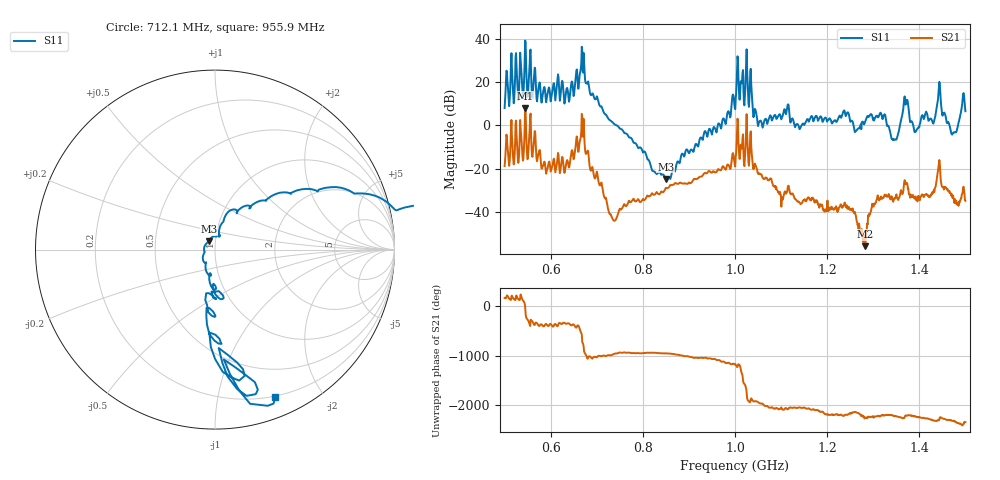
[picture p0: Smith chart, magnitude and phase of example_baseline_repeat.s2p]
# HZ S RI R 50
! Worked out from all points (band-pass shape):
!   1010 points, 500 MHz to 1.5 GHz, reference 50 ohm
!   highest |S21| = 8.05 dB at 544.6 MHz (marker M1); lowest = -55.8 dB at 1.283 GHz (marker M2)
!   |S21| within 3 dB of the highest: 544.2643 MHz to 545.8155 MHz (1.551 MHz wide, 0.285 % of centre); 556.056 MHz to 556.5295 MHz (473.5 kHz wide, 0.0851 % of centre) (the widest 2 of 4)
!   lowest |S11| = -24.8 dB at 849.9 MHz (marker M3), VSWR 1.12, Z = 46.5 + j4.37 ohm
!   |S11| at or under -10 dB: 788.9 MHz to 912.4 MHz (123.4 MHz wide, 14.5 % of centre)
!   S12 and S22 are empty: the file has one direction only
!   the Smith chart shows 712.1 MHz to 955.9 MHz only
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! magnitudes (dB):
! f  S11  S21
! 500 MHz  8.0  -18.8
! 544.6 MHz  39.2  8.0
! 633.8 MHz  16.1  -17.4
! 667.5 MHz  36.3  5.3
! 735.9 MHz  1.1  -43.7
! 834 MHz  -21.7  -31.7
! 849.9 MHz  -24.8  -28.8
! 1 GHz  7.5  -19.0
! 1.029 GHz  10.4  -17.2
! 1.055 GHz  2.2  -22.6
! 1.167 GHz  4.3  -33.7
! 1.242 GHz  5.4  -36.9
! 1.283 GHz  1.8  -55.8
! 1.305 GHz  3.6  -36.0
! 1.333 GHz  -0.4  -31.7
! 1.349 GHz  -6.5  -32.6
! 1.371 GHz  10.7  -26.6
! 1.392 GHz  -2.8  -32.8
! 1.43 GHz  1.0  -31.2
! 1.443 GHz  17.6  -17.6
! 1.473 GHz  -3.5  -32.5
! 1.5 GHz  6.5  -34.8
